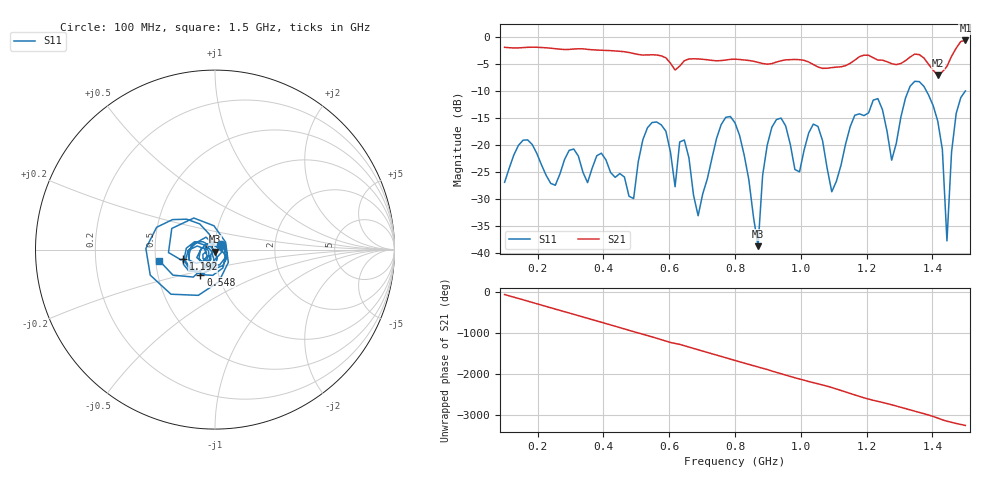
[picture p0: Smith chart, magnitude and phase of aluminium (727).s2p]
! NanoVNA-App
! Date: 2025-09-25 15:00:56
! Start: 100MHz Stop: 1,5GHz Points: 101
! S-Parameter data: F S11 S21 S12 S22
# Hz S RI R 50
!  Frequency  S11_Real  S11_Imag  S21_Real  S21_Imag  S12_Real  S12_Imag  S22_Real  S22_Imag
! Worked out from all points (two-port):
!   101 points, 100 MHz to 1.5 GHz, reference 50 ohm
!   highest |S21| = -0.65 dB at 1.5 GHz (marker M1); lowest = -7.1 dB at 1.416 GHz (marker M2)
!   |S21| within 3 dB of the highest: start of sweep to 581.6 MHz; 1.457 GHz to end of sweep (the widest 2 of 4)
!   lowest |S11| = -38.8 dB at 870 MHz (marker M3), VSWR 1.02, Z = 50 - j1.15 ohm
!   |S11| at or under -10 dB: start of sweep to 1.326 GHz; 1.381 GHz to end of sweep
!   S12 and S22 are empty: the file has one direction only
!   S11 on the Smith chart (normalised r, x): 100 MHz: 1.07, +0.06; 548 MHz: 0.82, -0.23; 1.192 GHz: 0.69, -0.07; 1.5 GHz: 0.52, -0.07
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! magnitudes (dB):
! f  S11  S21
! 100 MHz  -27.0  -1.9
! 156 MHz  -19.1  -2.0
! 338 MHz  -25.1  -2.2
! 492 MHz  -30.0  -3.1
! 548 MHz  -15.9  -3.3
! 576 MHz  -16.3  -3.5
! 618 MHz  -27.8  -6.1
! 646 MHz  -19.1  -4.4
! 688 MHz  -33.2  -4.1
! 800 MHz  -15.9  -4.1
! 870 MHz  -38.8  -4.7
! 912 MHz  -16.7  -4.9
! 996 MHz  -25.0  -4.2
! 1.038 GHz  -16.2  -5.1
! 1.094 GHz  -28.7  -5.7
! 1.192 GHz  -14.6  -3.4
! 1.276 GHz  -22.8  -5.0
! 1.346 GHz  -8.2  -3.2
! 1.416 GHz  -15.6  -7.1
! 1.444 GHz  -37.8  -5.5
! 1.472 GHz  -14.2  -2.1
! 1.5 GHz  -10.0  -0.6
